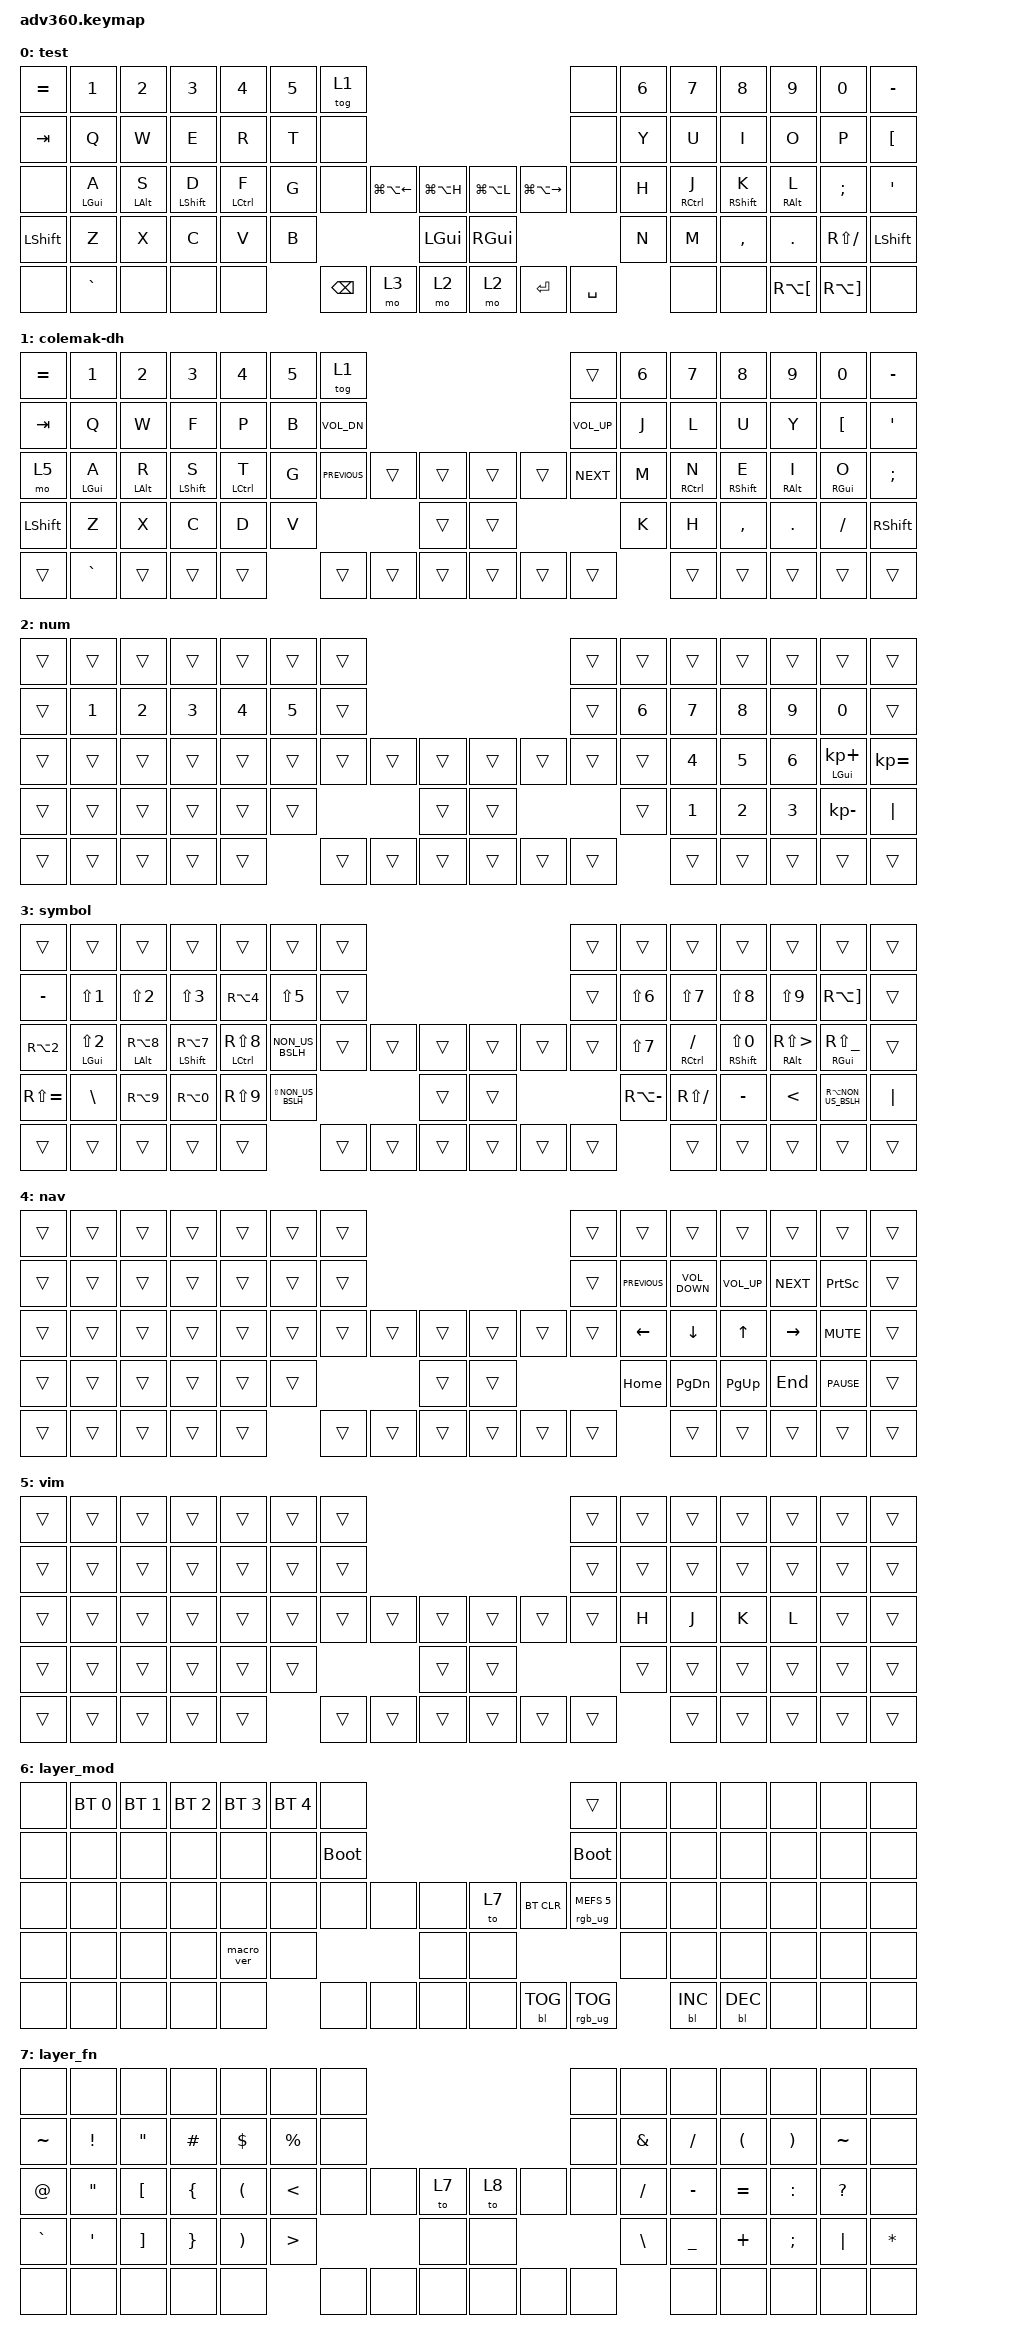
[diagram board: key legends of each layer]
/*
 * Copyright (c) 2020 The ZMK Contributors
 *
 * SPDX-License-Identifier: MIT
 */
/* THIS FILE WAS GENERATED!
 *
 * This file was generated automatically. You may or may not want to
 * edit it directly.
 */

#include <behaviors.dtsi>
#include <dt-bindings/zmk/backlight.h>
#include <dt-bindings/zmk/bt.h>
#include <dt-bindings/zmk/keys.h>
#include <dt-bindings/zmk/rgb.h>

/ {
    behaviors {
        #include "macros.dtsi"
    #include "version.dtsi"

        hm: homerow_mods {
            compatible = "zmk,behavior-hold-tap";
            label = "HOMEROW_MODS";
            #binding-cells = <2>;
            tapping-term-ms = <200>;
            quick_tap_ms = <175>;
            flavor = "tap-preferred";
            bindings = <&kp>, <&kp>;
        };

        holdtap: holdtap {
            compatible = "zmk,behavior-hold-tap";
            label = "HOLDTAP";
            bindings = <&mo>, <&tog>;

            #binding-cells = <2>;
            tapping-term-ms = <200>;
        };
    };

    combos {
        compatible = "zmk,combos";

        combo_esc {
            bindings = <&kp ESCAPE>;
            key-positions = <41 42>;
        };

        combo_tab {
            bindings = <&kp TAB>;
            key-positions = <32 31>;
        };

        combo_nav {
            bindings = <&mo 4>;
            key-positions = <66 69>;
        };
    };

    keymap {
        compatible = "zmk,keymap";

        qwerty {
            bindings = <
&kp EQUAL  &kp N1      &kp N2          &kp N3            &kp N4       &kp N5  &tog 1                                                                                      &none      &kp N6  &kp N7       &kp N8             &kp N9           &kp N0         &kp MINUS
&kp TAB    &kp Q       &kp W           &kp E             &kp R        &kp T   &none                                                                                       &none      &kp Y   &kp U        &kp I              &kp O            &kp P          &kp LEFT_BRACKET
&none      &hm LGUI A  &hm LEFT_ALT S  &hm LEFT_SHIFT D  &hm LCTRL F  &kp G   &none          &kp LG(LA(LEFT))  &kp LG(LA(H))      &kp LG(LA(L))  &kp LG(LA(RIGHT_ARROW))  &none      &kp H   &hm RCTRL J  &hm RIGHT_SHIFT K  &hm RIGHT_ALT L  &kp SEMICOLON  &kp SINGLE_QUOTE
&kp LSHFT  &kp Z       &kp X           &kp C             &kp V        &kp B                                    &kp LEFT_GUI       &kp RIGHT_GUI                                      &kp N   &kp M        &kp COMMA          &kp DOT          &kp RS(FSLH)   &kp LSHFT
&none      &kp GRAVE   &none           &none             &none                &kp BACKSPACE  &mo 3             &mo 2              &mo 2          &kp RET                  &kp SPACE          &none        &none              &kp RA(LBKT)     &kp RA(RBKT)   &none
            >;

            label = "test";
        };

        colemak-dh {
            bindings = <
&kp EQUAL  &kp N1          &kp N2          &kp N3            &kp N4       &kp N5  &tog 1                                              &trans           &kp N6  &kp N7       &kp N8             &kp N9           &kp N0            &kp MINUS
&kp TAB    &kp Q           &kp W           &kp F             &kp P        &kp B   &kp C_VOL_DN                                        &kp C_VOLUME_UP  &kp J   &kp L        &kp U              &kp Y            &kp LEFT_BRACKET  &kp SQT
&mo 5      &hm LEFT_GUI A  &hm LEFT_ALT R  &hm LEFT_SHIFT S  &hm LCTRL T  &kp G   &kp K_PREVIOUS  &trans  &trans      &trans  &trans  &kp K_NEXT       &kp M   &hm RCTRL N  &hm RIGHT_SHIFT E  &hm RIGHT_ALT I  &hm RIGHT_GUI O   &kp SEMICOLON
&kp LSHFT  &kp Z           &kp X           &kp C             &kp D        &kp V                           &trans      &trans                           &kp K   &kp H        &kp COMMA          &kp DOT          &kp SLASH         &kp RSHFT
&trans     &kp GRAVE       &trans          &trans            &trans               &trans          &trans  &trans      &trans  &trans  &trans                   &trans       &trans             &trans           &trans            &trans
            >;
        };

        num {
            bindings = <
&trans  &trans  &trans  &trans  &trans  &trans  &trans                                      &trans  &trans  &trans  &trans  &trans  &trans                &trans
&trans  &kp N1  &kp N2  &kp N3  &kp N4  &kp N5  &trans                                      &trans  &kp N6  &kp N7  &kp N8  &kp N9  &kp N0                &trans
&trans  &trans  &trans  &trans  &trans  &trans  &trans  &trans  &trans      &trans  &trans  &trans  &trans  &kp N4  &kp N5  &kp N6  &hm LEFT_GUI KP_PLUS  &kp KP_EQUAL
&trans  &trans  &trans  &trans  &trans  &trans                  &trans      &trans                  &trans  &kp N1  &kp N2  &kp N3  &kp KP_SUBTRACT       &kp PIPE
&trans  &trans  &trans  &trans  &trans          &trans  &trans  &trans      &trans  &trans  &trans          &trans  &trans  &trans  &trans                &trans
            >;
        };

        symbol {
            bindings = <
&trans            &trans                     &trans               &trans                 &trans                   &trans               &trans                                      &trans  &trans            &trans                   &trans                  &trans                          &trans                        &trans
&kp MINUS         &kp LS(NUMBER_1)           &kp LS(NUMBER_2)     &kp LS(NUMBER_3)       &kp RA(NUMBER_4)         &kp LS(N5)           &trans                                      &trans  &kp LS(NUMBER_6)  &kp LS(N7)               &kp LS(N8)              &kp LS(N9)                      &kp RA(RIGHT_BRACKET)         &trans
&kp RA(NUMBER_2)  &hm LEFT_GUI LS(NUMBER_2)  &hm LEFT_ALT RA(N8)  &hm LEFT_SHIFT RA(N7)  &hm LEFT_CONTROL RS(N8)  &kp NON_US_BSLH      &trans  &trans  &trans      &trans  &trans  &trans  &kp LS(N7)        &hm RIGHT_CONTROL SLASH  &hm RIGHT_SHIFT LS(N0)  &hm RIGHT_ALT RS(GREATER_THAN)  &hm RIGHT_GUI RS(UNDERSCORE)  &trans
&kp RS(EQUAL)     &kp BACKSLASH              &kp RA(N9)           &kp RA(NUMBER_0)       &kp RS(N9)               &kp LS(NON_US_BSLH)                  &trans      &trans                  &kp RA(MINUS)     &kp RS(SLASH)            &kp MINUS               &kp LESS_THAN                   &kp RA(NON_US_BSLH)           &kp PIPE
&trans            &trans                     &trans               &trans                 &trans                                        &trans  &trans  &trans      &trans  &trans  &trans                    &trans                   &trans                  &trans                          &trans                        &trans
            >;
        };

        nav {
            bindings = <
&trans  &trans  &trans  &trans  &trans  &trans  &trans                                      &trans  &trans          &trans             &trans           &trans      &trans           &trans
&trans  &trans  &trans  &trans  &trans  &trans  &trans                                      &trans  &kp C_PREVIOUS  &kp C_VOLUME_DOWN  &kp C_VOLUME_UP  &kp C_NEXT  &kp PRINTSCREEN  &trans
&trans  &trans  &trans  &trans  &trans  &trans  &trans  &trans  &trans      &trans  &trans  &trans  &kp LEFT_ARROW  &kp DOWN_ARROW     &kp UP_ARROW     &kp RIGHT   &kp K_MUTE       &trans
&trans  &trans  &trans  &trans  &trans  &trans                  &trans      &trans                  &kp HOME        &kp PAGE_DOWN      &kp PAGE_UP      &kp END     &kp C_PAUSE      &trans
&trans  &trans  &trans  &trans  &trans          &trans  &trans  &trans      &trans  &trans  &trans                  &trans             &trans           &trans      &trans           &trans
            >;
        };

        vim {
            bindings = <
&trans  &trans  &trans  &trans  &trans  &trans  &trans                                      &trans  &trans  &trans  &trans  &trans  &trans  &trans
&trans  &trans  &trans  &trans  &trans  &trans  &trans                                      &trans  &trans  &trans  &trans  &trans  &trans  &trans
&trans  &trans  &trans  &trans  &trans  &trans  &trans  &trans  &trans      &trans  &trans  &trans  &kp H   &kp J   &kp K   &kp L   &trans  &trans
&trans  &trans  &trans  &trans  &trans  &trans                  &trans      &trans                  &trans  &trans  &trans  &trans  &trans  &trans
&trans  &trans  &trans  &trans  &trans          &trans  &trans  &trans      &trans  &trans  &trans          &trans  &trans  &trans  &trans  &trans
            >;
        };

        layer_mod {
            bindings = <
&none  &bt BT_SEL 0  &bt BT_SEL 1  &bt BT_SEL 2  &bt BT_SEL 3  &bt BT_SEL 4  &none                                             &trans                  &none  &none       &none       &none  &none  &none
&none  &none         &none         &none         &none         &none         &bootloader                                       &bootloader             &none  &none       &none       &none  &none  &none
&none  &none         &none         &none         &none         &none         &none        &none  &none      &to 7  &bt BT_CLR  &rgb_ug RGB_MEFS_CMD 5  &none  &none       &none       &none  &none  &none
&none  &none         &none         &none         &macro_ver    &none                             &none      &none                                      &none  &none       &none       &none  &none  &none
&none  &none         &none         &none         &none                       &none        &none  &none      &none  &bl BL_TOG  &rgb_ug RGB_TOG                &bl BL_INC  &bl BL_DEC  &none  &none  &none
            >;
        };

        layer_fn {
            bindings = <
&none      &none              &none              &none            &none                  &none             &none                                  &none  &none          &none           &none                 &none                  &none         &none
&kp TILDE  &kp EXCLAMATION    &kp DOUBLE_QUOTES  &kp HASH         &kp DOLLAR             &kp PERCENT       &none                                  &none  &kp AMPERSAND  &kp SLASH       &kp LEFT_PARENTHESIS  &kp RIGHT_PARENTHESIS  &kp TILDE     &none
&kp AT     &kp DOUBLE_QUOTES  &kp LEFT_BRACKET   &kp LEFT_BRACE   &kp LEFT_PARENTHESIS   &kp LESS_THAN     &none  &none  &to 7      &to 8  &none  &none  &kp SLASH      &kp MINUS       &kp EQUAL             &kp COLON              &kp QUESTION  &none
&kp GRAVE  &kp SQT            &kp RIGHT_BRACKET  &kp RIGHT_BRACE  &kp RIGHT_PARENTHESIS  &kp GREATER_THAN                &none      &none                &kp BACKSLASH  &kp UNDERSCORE  &kp PLUS              &kp SEMICOLON          &kp PIPE      &kp ASTERISK
&none      &none              &none              &none            &none                                    &none  &none  &none      &none  &none  &none                 &none           &none                 &none                  &none         &none
            >;
        };
    };
};
